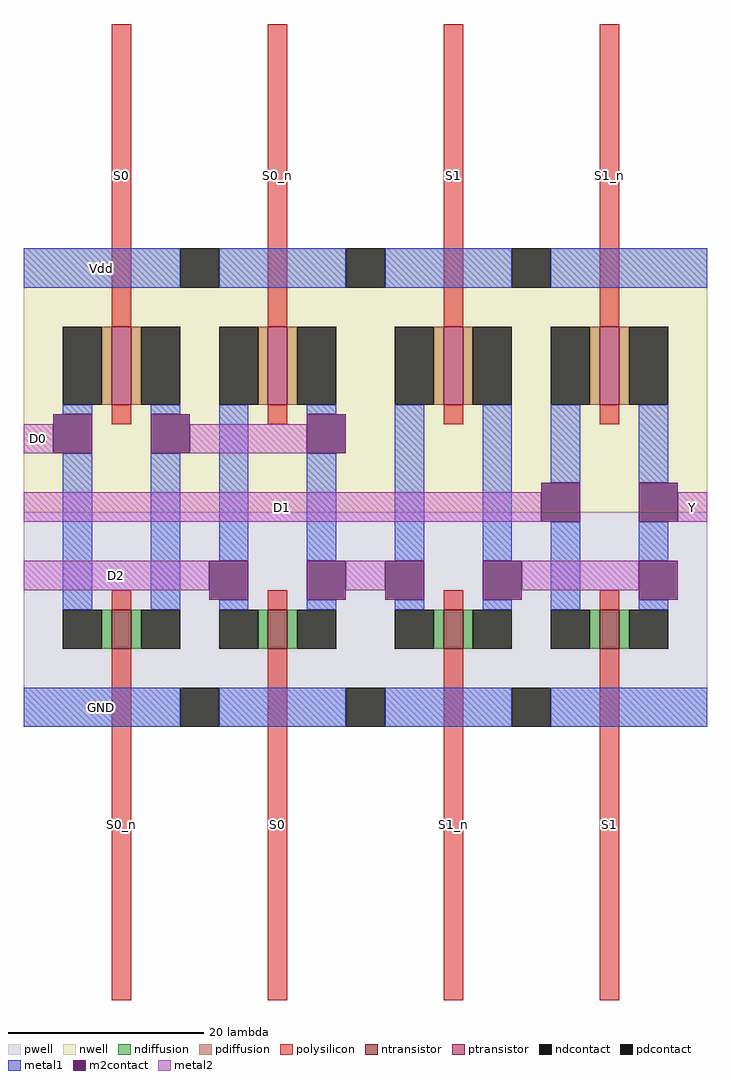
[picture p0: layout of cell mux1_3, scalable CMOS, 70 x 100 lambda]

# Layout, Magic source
magic
tech scmos
<< pwell >>
rect -24 28 46 50
<< nwell >>
rect -24 50 46 77
<< polysilicon >>
rect -15 69 -13 100
rect 1 69 3 100
rect 19 69 21 100
rect 35 69 37 100
rect -15 59 -13 61
rect 1 59 3 61
rect 19 59 21 61
rect 35 59 37 61
rect -15 40 -13 42
rect 1 40 3 42
rect 19 40 21 42
rect 35 40 37 42
rect -15 0 -13 36
rect 1 0 3 36
rect 19 0 21 36
rect 35 0 37 36
<< ndiffusion >>
rect -16 36 -15 40
rect -13 36 -12 40
rect 0 36 1 40
rect 3 36 4 40
rect 18 36 19 40
rect 21 36 22 40
rect 34 36 35 40
rect 37 36 38 40
<< pdiffusion >>
rect -16 61 -15 69
rect -13 61 -12 69
rect 0 61 1 69
rect 3 61 4 69
rect 18 61 19 69
rect 21 61 22 69
rect 34 61 35 69
rect 37 61 38 69
<< metal1 >>
rect -24 73 -8 77
rect -4 73 9 77
rect 13 73 26 77
rect 30 73 46 77
rect -20 60 -17 61
rect -20 40 -17 56
rect -11 60 -8 61
rect -11 40 -8 56
rect -4 45 -1 61
rect -4 40 -1 41
rect 5 60 8 61
rect 5 45 8 56
rect 14 45 17 61
rect 5 40 8 41
rect 14 40 17 41
rect 23 45 26 61
rect 30 53 33 61
rect 23 40 26 41
rect 30 40 33 49
rect 39 53 42 61
rect 39 45 42 49
rect 39 40 42 41
rect -24 28 -8 32
rect -4 28 9 32
rect 13 28 26 32
rect 30 28 46 32
<< metal2 >>
rect -24 56 -21 59
rect -7 56 5 59
rect -24 49 29 52
rect 43 49 46 52
rect -24 42 -5 45
rect 9 42 13 45
rect 27 42 39 45
<< ntransistor >>
rect -15 36 -13 40
rect 1 36 3 40
rect 19 36 21 40
rect 35 36 37 40
<< ptransistor >>
rect -15 61 -13 69
rect 1 61 3 69
rect 19 61 21 69
rect 35 61 37 69
<< ndcontact >>
rect -20 36 -16 40
rect -12 36 -8 40
rect -4 36 0 40
rect 4 36 8 40
rect 14 36 18 40
rect 22 36 26 40
rect 30 36 34 40
rect 38 36 42 40
rect -8 28 -4 32
rect 9 28 13 32
rect 26 28 30 32
<< pdcontact >>
rect -8 73 -4 77
rect 9 73 13 77
rect 26 73 30 77
rect -20 61 -16 69
rect -12 61 -8 69
rect -4 61 0 69
rect 4 61 8 69
rect 14 61 18 69
rect 22 61 26 69
rect 30 61 34 69
rect 38 61 42 69
<< m2contact >>
rect -21 56 -17 60
rect -11 56 -7 60
rect -5 41 -1 45
rect 5 56 9 60
rect 5 41 9 45
rect 13 41 17 45
rect 29 49 33 53
rect 23 41 27 45
rect 39 49 43 53
rect 39 41 43 45
<< labels >>
rlabel metal2 -24 56 -21 59 7 D0
rlabel metal2 -24 42 -5 45 7 D2
rlabel polysilicon -15 69 -13 100 1 S0
rlabel polysilicon 1 69 3 100 1 S0_n
rlabel polysilicon -15 0 -13 36 5 S0_n
rlabel polysilicon 1 0 3 36 5 S0
rlabel metal1 -24 73 -8 77 1 Vdd
rlabel metal1 -24 28 -8 32 5 GND
rlabel polysilicon 19 69 21 100 1 S1
rlabel polysilicon 35 69 37 100 1 S1_n
rlabel polysilicon 35 0 37 36 5 S1
rlabel polysilicon 19 0 21 36 5 S1_n
rlabel metal2 -24 49 29 52 7 D1
rlabel metal2 43 49 46 52 3 Y
<< end >>
